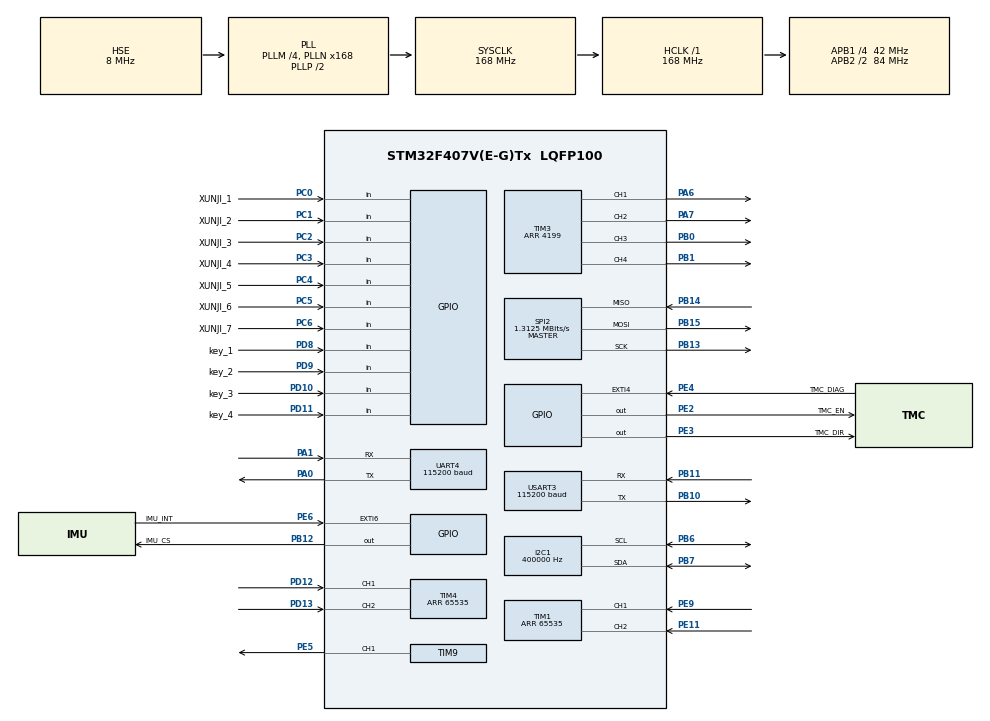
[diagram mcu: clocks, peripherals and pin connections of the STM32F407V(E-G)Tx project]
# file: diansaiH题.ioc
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I2C1.ClockSpeed=400000
I2C1.DutyCycle=I2C_DUTYCYCLE_2
I2C1.I2C_Mode=I2C_Fast
Mcu.Family=STM32F4
Mcu.Name=STM32F407V(E-G)Tx
Mcu.Package=LQFP100
NVIC.EXTI4_IRQn=true\:2\:0\:false\:false\:true\:true\:true\:true
NVIC.EXTI9_5_IRQn=true\:3\:0\:false\:false\:true\:true\:true\:true
NVIC.PriorityGroup=NVIC_PRIORITYGROUP_4
NVIC.TIM1_BRK_TIM9_IRQn=true\:5\:0\:false\:false\:true\:true\:true\:true
NVIC.TIM2_IRQn=true\:4\:0\:false\:false\:true\:true\:true\:true
NVIC.UART4_IRQn=true\:1\:0\:false\:false\:true\:true\:true\:true
PA0-WKUP.Mode=Asynchronous
PA0-WKUP.Signal=UART4_TX
PA1.Mode=Asynchronous
PA1.Signal=UART4_RX
PA13.Mode=Serial_Wire
PA13.Signal=SYS_JTMS-SWDIO
PA14.Mode=Serial_Wire
PA14.Signal=SYS_JTCK-SWCLK
PA6.Signal=S_TIM3_CH1
PA7.Signal=S_TIM3_CH2
PB0.Signal=S_TIM3_CH3
PB1.Signal=S_TIM3_CH4
PB10.Mode=Asynchronous
PB10.Signal=USART3_TX
PB11.Mode=Asynchronous
PB11.Signal=USART3_RX
PB12.GPIO_Label=IMU_CS
PB12.GPIO_Speed=GPIO_SPEED_FREQ_HIGH
PB12.PinState=GPIO_PIN_SET
PB12.Signal=GPIO_Output
PB13.Mode=Full_Duplex_Master
PB13.Signal=SPI2_SCK
PB14.Mode=Full_Duplex_Master
PB14.Signal=SPI2_MISO
PB15.Mode=Full_Duplex_Master
PB15.Signal=SPI2_MOSI
PB6.Mode=I2C
PB6.Signal=I2C1_SCL
PB7.Mode=I2C
PB7.Signal=I2C1_SDA
PC0.GPIO_Label=XUNJI_1
PC0.GPIO_PuPd=GPIO_PULLDOWN
PC0.Signal=GPIO_Input
PC1.GPIO_Label=XUNJI_2
PC1.GPIO_PuPd=GPIO_PULLDOWN
PC1.Signal=GPIO_Input
PC2.GPIO_Label=XUNJI_3
PC2.GPIO_PuPd=GPIO_PULLDOWN
PC2.Signal=GPIO_Input
PC3.GPIO_Label=XUNJI_4
PC3.GPIO_PuPd=GPIO_PULLDOWN
PC3.Signal=GPIO_Input
PC4.GPIO_Label=XUNJI_5
PC4.GPIO_PuPd=GPIO_PULLDOWN
PC4.Signal=GPIO_Input
PC5.GPIO_Label=XUNJI_6
PC5.GPIO_PuPd=GPIO_PULLDOWN
PC5.Signal=GPIO_Input
PC6.GPIO_Label=XUNJI_7
PC6.GPIO_PuPd=GPIO_PULLDOWN
PC6.Signal=GPIO_Input
PD10.GPIO_Label=key_3
PD10.GPIO_PuPd=GPIO_PULLUP
PD10.Signal=GPIO_Input
PD11.GPIO_Label=key_4
PD11.GPIO_PuPd=GPIO_PULLUP
PD11.Signal=GPIO_Input
PD12.Signal=S_TIM4_CH1
PD13.Signal=S_TIM4_CH2
PD8.GPIO_Label=key_1
PD8.GPIO_PuPd=GPIO_PULLUP
PD8.Signal=GPIO_Input
PD9.GPIO_Label=key_2
PD9.GPIO_PuPd=GPIO_PULLUP
PD9.Signal=GPIO_Input
PE11.Signal=S_TIM1_CH2
PE2.GPIO_Label=TMC_EN
PE2.GPIO_Speed=GPIO_SPEED_FREQ_HIGH
PE2.PinState=GPIO_PIN_SET
PE2.Signal=GPIO_Output
PE3.GPIO_Label=TMC_DIR
PE3.GPIO_Speed=GPIO_SPEED_FREQ_HIGH
PE3.Signal=GPIO_Output
PE4.GPIO_Label=TMC_DIAG
PE4.GPIO_ModeDefaultEXTI=GPIO_MODE_IT_RISING
PE4.GPIO_PuPd=GPIO_PULLDOWN
PE4.Signal=GPXTI4
PE5.Signal=S_TIM9_CH1
PE6.GPIO_Label=IMU_INT
PE6.GPIO_ModeDefaultEXTI=GPIO_MODE_IT_RISING
PE6.Signal=GPXTI6
PE9.Signal=S_TIM1_CH1
PH0-OSC_IN.Mode=HSE-External-Oscillator
PH0-OSC_IN.Signal=RCC_OSC_IN
PH1-OSC_OUT.Mode=HSE-External-Oscillator
PH1-OSC_OUT.Signal=RCC_OSC_OUT
ProjectManager.HeapSize=0x200
ProjectManager.StackSize=0x400
ProjectManager.TargetToolchain=MDK-ARM V5.32
RCC.48MHZClocksFreq_Value=48000000
RCC.AHBFreq_Value=168000000
RCC.APB1CLKDivider=RCC_HCLK_DIV4
RCC.APB1Freq_Value=42000000
RCC.APB1TimFreq_Value=84000000
RCC.APB2CLKDivider=RCC_HCLK_DIV2
RCC.APB2Freq_Value=84000000
RCC.APB2TimFreq_Value=168000000
RCC.CortexFreq_Value=168000000
RCC.HCLKFreq_Value=168000000
RCC.HSE_VALUE=8000000
RCC.HSI_VALUE=16000000
RCC.LSE_VALUE=32768
RCC.PLLM=4
RCC.PLLN=168
RCC.PLLQ=7
RCC.PLLSourceVirtual=RCC_PLLSOURCE_HSE
RCC.SYSCLKFreq_VALUE=168000000
RCC.SYSCLKSource=RCC_SYSCLKSOURCE_PLLCLK
RCC.VCOOutputFreq_Value=336000000
SH.S_TIM1_CH1.0=TIM1_CH1,Encoder_Interface
SH.S_TIM1_CH2.0=TIM1_CH2,Encoder_Interface
SH.S_TIM3_CH1.0=TIM3_CH1,PWM Generation1 CH1
SH.S_TIM3_CH2.0=TIM3_CH2,PWM Generation2 CH2
SH.S_TIM3_CH3.0=TIM3_CH3,PWM Generation3 CH3
SH.S_TIM3_CH4.0=TIM3_CH4,PWM Generation4 CH4
SH.S_TIM4_CH1.0=TIM4_CH1,Encoder_Interface
SH.S_TIM4_CH2.0=TIM4_CH2,Encoder_Interface
SH.S_TIM9_CH1.0=TIM9_CH1,PWM Generation1 CH1
SPI2.BaudRatePrescaler=SPI_BAUDRATEPRESCALER_32
SPI2.CLKPhase=SPI_PHASE_2EDGE
SPI2.CLKPolarity=SPI_POLARITY_HIGH
SPI2.CalculateBaudRate=1.3125 MBits/s
SPI2.Direction=SPI_DIRECTION_2LINES
SPI2.Mode=SPI_MODE_MASTER
SPI2.VirtualType=VM_MASTER
TIM1.EncoderMode=TIM_ENCODERMODE_TI12
TIM1.IC1Filter=4
TIM1.IC2Filter=4
TIM1.Period=65535
TIM2.Period=999
TIM2.Prescaler=83
TIM3.Channel-PWM\ Generation1\ CH1=TIM_CHANNEL_1
TIM3.Channel-PWM\ Generation2\ CH2=TIM_CHANNEL_2
TIM3.Channel-PWM\ Generation3\ CH3=TIM_CHANNEL_3
TIM3.Channel-PWM\ Generation4\ CH4=TIM_CHANNEL_4
TIM3.Period=4199
TIM4.EncoderMode=TIM_ENCODERMODE_TI12
TIM4.IC1Filter=4
TIM4.IC2Filter=4
TIM4.Period=65535
TIM9.Channel-PWM\ Generation1\ CH1=TIM_CHANNEL_1
TIM9.Period=999
TIM9.Prescaler=167
UART4.BaudRate=115200
UART4.VirtualMode=Asynchronous
USART3.BaudRate=115200
USART3.VirtualMode=VM_ASYNC
VP_TIM2_VS_ClockSourceINT.Mode=Internal
VP_TIM3_VS_ClockSourceINT.Mode=Internal
VP_TIM9_VS_ClockSourceINT.Mode=Internal
board=custom

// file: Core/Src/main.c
/* USER CODE BEGIN Header */
/**
  ******************************************************************************
  * @file           : main.c
  * @brief          : Main program body
  ******************************************************************************
  * @attention
  *
  * Copyright (c) 2026 STMicroelectronics.
  * All rights reserved.
  *
  * This software is licensed under terms that can be found in the LICENSE file
  * in the root directory of this software component.
  * If no LICENSE file comes with this software, it is provided AS-IS.
  *
  ******************************************************************************
  */
/* USER CODE END Header */
#include "main.h"

/* USER CODE BEGIN Includes */
#include "A4950.h"
#include "Encoder.h"
#include "eum.h"
#include "imu.h"
#include "k230.h"
#include "oled.h"
#include "PID.h"
#include "task.h"
#include "Timer.h"
#include "tmc2209.h"
/* USER CODE END Includes */

I2C_HandleTypeDef hi2c1;

SPI_HandleTypeDef hspi2;

TIM_HandleTypeDef htim1;
TIM_HandleTypeDef htim2;
TIM_HandleTypeDef htim3;
TIM_HandleTypeDef htim4;
TIM_HandleTypeDef htim9;

UART_HandleTypeDef huart4;
UART_HandleTypeDef huart3;

/* USER CODE BEGIN PV */
/* 外设自检结果：为 false 时主循环跳过对应传感器/驱动功能。 */
static bool imu_ok;                  /* ICM45686 初始化及静止校准结果。 */
static bool tmc_ok;                  /* TMC2209 串口初始化结果，供 OLED 显示。 */
static K230_Frame k230_frame;        /* 最近一帧 K230 小球识别数据。 */
static uint32_t k230_sequence;       /* 已消费帧序号，用于判断本轮是否有新帧。 */

/* TASK2 的两个轮速环和一个左右轮速度差环。 */
PID_Controller left_speed_pid;       /* 左轮转速闭环，输入/目标单位 RPM。 */
PID_Controller right_speed_pid;      /* 右轮转速闭环，输入/目标单位 RPM。 */
PID_Controller dir_speed_pid;        /* 左右轮速度差闭环，用于循迹转向。 */
/* USER CODE END PV */

void SystemClock_Config(void);
static void MX_GPIO_Init(void);
static void MX_I2C1_Init(void);
static void MX_SPI2_Init(void);
static void MX_TIM1_Init(void);
static void MX_TIM2_Init(void);
static void MX_TIM3_Init(void);
static void MX_TIM4_Init(void);
static void MX_TIM9_Init(void);
static void MX_UART4_Init(void);
static void MX_USART3_UART_Init(void);
/* USER CODE BEGIN PFP */
/* 初始化/清空 TASK2 使用的三个 PID 控制器。 */
void PID_all_init(void);
/* 按 20 ms 周期读取轮速、计算 PID，并输出到 A4950。 */
void PID_all_update(void);
/* 设置循迹基础速度与转向修正量，两个参数单位均为 RPM。 */
void xunji_set_speed(float base_speed, float correction);
/* 仅把三个 PID 目标清零；立即制动由 A4950_Stop() 完成。 */
void xunji_set_stop(void);

/* USER CODE END PFP */

/* USER CODE BEGIN 0 */
void PID_all_init(void)
{
  /* 左右轮速度环：输出限幅与 A4950 的软件命令范围一致。 */
  PID_Init(&left_speed_pid, 3.0f, 0.05f, 0.0f, -500.0f, 500.0f);
  PID_Init(&right_speed_pid, 3.0f, 0.05f, 0.0f, -500.0f, 500.0f);
  /* 方向环修正左右轮输出，限幅较小，避免转向量压过基础轮速。 */
  PID_Init(&dir_speed_pid, 0.2f, 0.05f, 0.0f, -200.0f, 200.0f);
}

void PID_all_update(void)
{
  /* Timer.c 已完成编码器采样、均值滤波以及 RPM 换算。 */
  float left_speed = (float)WJ_get_left_speed();
  float right_speed = (float)WJ_get_right_speed();

  /* 三个控制器必须与编码器刷新保持相同的 20 ms 调用周期。 */
  PID_Update(&left_speed_pid, left_speed);
  PID_Update(&right_speed_pid, right_speed);
  PID_Update(&dir_speed_pid, left_speed - right_speed);

  /* 方向环对两侧作相反修正，控制量最终交给 A4950 四路 PWM。 */
  WJ_Set_leftspeed(left_speed_pid.output + dir_speed_pid.output);
  WJ_Set_rightspeed(right_speed_pid.output - dir_speed_pid.output);
}

void xunji_set_speed(float base_speed, float correction)
{
  /* 正修正量使左轮目标增大、右轮目标减小，小车向右修正；负值反之。 */
  PID_SetSetpoint(&left_speed_pid, base_speed + correction);
  PID_SetSetpoint(&right_speed_pid, base_speed - correction);
  /* 目标轮速差 = (base+corr) - (base-corr) = 2*corr。 */
  PID_SetSetpoint(&dir_speed_pid, correction * 2.0f);
}

void xunji_set_stop(void)
{
  /* 清目标并不会立刻覆盖旧 PWM；停车路径随后调用 A4950_Stop() 主动制动。 */
  PID_SetSetpoint(&left_speed_pid, 0.0f);
  PID_SetSetpoint(&right_speed_pid, 0.0f);
  PID_SetSetpoint(&dir_speed_pid, 0.0f);
}

/* USER CODE END 0 */

int main(void)
{

  /* USER CODE BEGIN 1 */
  float front_back_accel_mg = 0.0f; /* 车体平面前后向加速度，单位 mg。 */
  float left_right_accel_mg = 0.0f; /* 车体平面左右向加速度，单位 mg。 */
  bool imu_new_sample;              /* 本轮主循环是否成功读取了新 IMU 样本。 */
  bool k230_new_frame;              /* 本轮主循环是否取到一帧新的视觉数据。 */

  /* USER CODE END 1 */

  /* MCU Configuration--------------------------------------------------------*/

  /* Reset of all peripherals, Initializes the Flash interface and the Systick. */
  HAL_Init();

  /* Configure the system clock */
  SystemClock_Config();

  /* Initialize all configured peripherals */
  MX_GPIO_Init();
  MX_I2C1_Init();
  MX_SPI2_Init();
  MX_TIM1_Init();
  MX_TIM2_Init();
  MX_TIM3_Init();
  MX_TIM4_Init();
  MX_TIM9_Init();
  MX_UART4_Init();
  MX_USART3_UART_Init();
  /* USER CODE BEGIN 2 */
    /* 直流电机与轮速闭环：启动 PWM、编码器并清空 PID。 */
    A4950_Init();
    Encoder_Init();
    PID_all_init();

    /* 通信与步进驱动：UART4 接 K230，USART3 接 TMC2209。 */
    K230_Init(&huart4);
	tmc_ok = TMC2209_Init(&huart3, &htim9, TMC2209_MRES_16);
	/* 上电初始化后先关闭步进驱动，只有需要摆杆控制的任务启动时再使能。 */
	TMC2209_Disable();

    /* 任务状态机上电复位；此时不会自动运行任何 TASK。 */
    WJ_task_1_init();
    WJ_task_2_init();
    WJ_task_3_init();
    WJ_task_4_init();

    /* 初始化 IMU 和 OLED；IMU 成功后静止采样，得到平面加速度零偏。 */
    imu_ok = ICM45686_Init(&hspi2);
    OLED_Init();
    if (imu_ok) {
      OLED_Clear();
      OLED_ShowString(0, 0, (u8 *)"IMU CAL...", 8, 1);
      OLED_Refresh();
      imu_ok = IMU_PlanarCalibrate();
    }
    OLED_Clear();
    if (imu_ok) {
      OLED_ShowString(0, 0, (u8 *)"IMU OK", 8, 1);
    } else {
      OLED_ShowString(0, 0, (u8 *)"IMU ERROR", 8, 1);
    }
    OLED_Refresh();

    /* 最后初始化菜单，并启动 TIM2 的 1 ms 软件调度节拍。 */
    Menu_Init();
    Timer_Init();
  /* USER CODE END 2 */

  /* Infinite loop */
  while (1)
  {
    /* USER CODE BEGIN 3 */
    /* IMU 的 PE6 数据就绪中断只置标志，实际 SPI 读取在主循环完成。 */
    imu_new_sample = false;
    if (imu_ok && ICM45686_IsDataReady()) {
      imu_new_sample =
          IMU_PlanarUpdate(&front_back_accel_mg,
                           &left_right_accel_mg);
    }
//------------------------------------------------------------------
    /* 先取得最新完整视觉帧，TASK6 双击 KEY2 时才能记录当前小球位置。 */
    k230_new_frame = K230_GetNewFrame(&k230_frame, &k230_sequence);
    Menu_Update(k230_frame.dx, k230_frame.found);
    /*
     * 任务调用方式照参考工程：Mode 决定当前执行哪个任务。
     * TASK1/TASK3/TASK4～6 的固定 20 ms 控制都在 Timer.c 中执行；
     * 主循环只缓存 K230 新帧，避免 OLED/I2C 刷新影响 PID 周期。
     */
    if (Mode == 1U) {
      WJ_task_1(k230_frame.dx, k230_frame.found, k230_new_frame);
    } else if (Mode == 2U) {
      /* TASK2 的距离、停车和计时已在 TIM2 的固定节拍中执行。 */
    } else if (Mode == 3U) {
      WJ_task_3(k230_frame.dx, k230_frame.found, k230_new_frame);
    } else if ((Mode >= 4U) && (Mode <= 6U)) {
      /* TASK4～6 共用视觉、IMU 和滚球闭环缓存，真正控制在 TIM2 固定节拍中执行。 */
      WJ_task_4(k230_frame.dx, k230_frame.found, k230_new_frame,
                front_back_accel_mg, imu_new_sample);
    }
//------------------------------------------------------------------
    /*
     * TIM2 每 100 ms 置位一次；OLED 刷新本身是阻塞式 I2C 传输。
     * TASK2 的速度 PID、距离、停车和计时均已在 TIM2 内固定周期执行，
     * 所以此处可安全显示实时计时，屏幕刷新不会改变停车点。
     */
    if (display_update_ready != 0U) {
      display_update_ready = 0U;
      eumshow(k230_frame.dx,
              (int32_t)front_back_accel_mg,
              (int32_t)left_right_accel_mg,
              tmc_ok);
    }
//------------------------------------------------------------------

//------------------------------------------------------------------
    /*
     * 速度 PID 已在 TIM2 中断的 20 ms 编码器采样分支中执行。
     * 主循环这里只清除调试标志，不再重复计算；OLED 或其他代码阻塞时
     * 也不会拉长 PID 周期。
     */
    if (speed_update_ready != 0U) {
      speed_update_ready = 0U;
    }
//------------------------------------------------------------------
//-------------------------------------------------------------------
  }
  /* USER CODE END 3 */
}

void SystemClock_Config(void)
{
  RCC_OscInitTypeDef RCC_OscInitStruct = {0};
  RCC_ClkInitTypeDef RCC_ClkInitStruct = {0};

  /** Configure the main internal regulator output voltage
  */
  __HAL_RCC_PWR_CLK_ENABLE();
  __HAL_PWR_VOLTAGESCALING_CONFIG(PWR_REGULATOR_VOLTAGE_SCALE1);

  /** Initializes the RCC Oscillators according to the specified parameters
  * in the RCC_OscInitTypeDef structure.
  */
  RCC_OscInitStruct.OscillatorType = RCC_OSCILLATORTYPE_HSE;
  RCC_OscInitStruct.HSEState = RCC_HSE_ON;
  RCC_OscInitStruct.PLL.PLLState = RCC_PLL_ON;
  RCC_OscInitStruct.PLL.PLLSource = RCC_PLLSOURCE_HSE;
  RCC_OscInitStruct.PLL.PLLM = 4;
  RCC_OscInitStruct.PLL.PLLN = 168;
  RCC_OscInitStruct.PLL.PLLP = RCC_PLLP_DIV2;
  RCC_OscInitStruct.PLL.PLLQ = 7;
  if (HAL_RCC_OscConfig(&RCC_OscInitStruct) != HAL_OK)
  {
    Error_Handler();
  }

  /** Initializes the CPU, AHB and APB buses clocks
  */
  RCC_ClkInitStruct.ClockType = RCC_CLOCKTYPE_HCLK|RCC_CLOCKTYPE_SYSCLK
                              |RCC_CLOCKTYPE_PCLK1|RCC_CLOCKTYPE_PCLK2;
  RCC_ClkInitStruct.SYSCLKSource = RCC_SYSCLKSOURCE_PLLCLK;
  RCC_ClkInitStruct.AHBCLKDivider = RCC_SYSCLK_DIV1;
  RCC_ClkInitStruct.APB1CLKDivider = RCC_HCLK_DIV4;
  RCC_ClkInitStruct.APB2CLKDivider = RCC_HCLK_DIV2;

  if (HAL_RCC_ClockConfig(&RCC_ClkInitStruct, FLASH_LATENCY_5) != HAL_OK)
  {
    Error_Handler();
  }
}

static void MX_I2C1_Init(void)
{

  hi2c1.Instance = I2C1;
  hi2c1.Init.ClockSpeed = 400000;
  hi2c1.Init.DutyCycle = I2C_DUTYCYCLE_2;
  hi2c1.Init.OwnAddress1 = 0;
  hi2c1.Init.AddressingMode = I2C_ADDRESSINGMODE_7BIT;
  hi2c1.Init.DualAddressMode = I2C_DUALADDRESS_DISABLE;
  hi2c1.Init.OwnAddress2 = 0;
  hi2c1.Init.GeneralCallMode = I2C_GENERALCALL_DISABLE;
  hi2c1.Init.NoStretchMode = I2C_NOSTRETCH_DISABLE;
  if (HAL_I2C_Init(&hi2c1) != HAL_OK)
  {
    Error_Handler();
  }

}

static void MX_SPI2_Init(void)
{

  /* SPI2 parameter configuration*/
  hspi2.Instance = SPI2;
  hspi2.Init.Mode = SPI_MODE_MASTER;
  hspi2.Init.Direction = SPI_DIRECTION_2LINES;
  hspi2.Init.DataSize = SPI_DATASIZE_8BIT;
  hspi2.Init.CLKPolarity = SPI_POLARITY_HIGH;
  hspi2.Init.CLKPhase = SPI_PHASE_2EDGE;
  hspi2.Init.NSS = SPI_NSS_SOFT;
  hspi2.Init.BaudRatePrescaler = SPI_BAUDRATEPRESCALER_32;
  hspi2.Init.FirstBit = SPI_FIRSTBIT_MSB;
  hspi2.Init.TIMode = SPI_TIMODE_DISABLE;
  hspi2.Init.CRCCalculation = SPI_CRCCALCULATION_DISABLE;
  hspi2.Init.CRCPolynomial = 10;
  if (HAL_SPI_Init(&hspi2) != HAL_OK)
  {
    Error_Handler();
  }

}

static void MX_TIM1_Init(void)
{

  TIM_Encoder_InitTypeDef sConfig = {0};
  TIM_MasterConfigTypeDef sMasterConfig = {0};

  htim1.Instance = TIM1;
  htim1.Init.Prescaler = 0;
  htim1.Init.CounterMode = TIM_COUNTERMODE_UP;
  htim1.Init.Period = 65535;
  htim1.Init.ClockDivision = TIM_CLOCKDIVISION_DIV1;
  htim1.Init.RepetitionCounter = 0;
  htim1.Init.AutoReloadPreload = TIM_AUTORELOAD_PRELOAD_DISABLE;
  sConfig.EncoderMode = TIM_ENCODERMODE_TI12;
  sConfig.IC1Polarity = TIM_ICPOLARITY_RISING;
  sConfig.IC1Selection = TIM_ICSELECTION_DIRECTTI;
  sConfig.IC1Prescaler = TIM_ICPSC_DIV1;
  sConfig.IC1Filter = 4;
  sConfig.IC2Polarity = TIM_ICPOLARITY_RISING;
  sConfig.IC2Selection = TIM_ICSELECTION_DIRECTTI;
  sConfig.IC2Prescaler = TIM_ICPSC_DIV1;
  sConfig.IC2Filter = 4;
  if (HAL_TIM_Encoder_Init(&htim1, &sConfig) != HAL_OK)
  {
    Error_Handler();
  }
  sMasterConfig.MasterOutputTrigger = TIM_TRGO_RESET;
  sMasterConfig.MasterSlaveMode = TIM_MASTERSLAVEMODE_DISABLE;
  if (HAL_TIMEx_MasterConfigSynchronization(&htim1, &sMasterConfig) != HAL_OK)
  {
    Error_Handler();
  }

}

static void MX_TIM2_Init(void)
{

  TIM_ClockConfigTypeDef sClockSourceConfig = {0};
  TIM_MasterConfigTypeDef sMasterConfig = {0};

  htim2.Instance = TIM2;
  htim2.Init.Prescaler = 83;
  htim2.Init.CounterMode = TIM_COUNTERMODE_UP;
  htim2.Init.Period = 999;
  htim2.Init.ClockDivision = TIM_CLOCKDIVISION_DIV1;
  htim2.Init.AutoReloadPreload = TIM_AUTORELOAD_PRELOAD_DISABLE;
  if (HAL_TIM_Base_Init(&htim2) != HAL_OK)
  {
    Error_Handler();
  }
  sClockSourceConfig.ClockSource = TIM_CLOCKSOURCE_INTERNAL;
  if (HAL_TIM_ConfigClockSource(&htim2, &sClockSourceConfig) != HAL_OK)
  {
    Error_Handler();
  }
  sMasterConfig.MasterOutputTrigger = TIM_TRGO_RESET;
  sMasterConfig.MasterSlaveMode = TIM_MASTERSLAVEMODE_DISABLE;
  if (HAL_TIMEx_MasterConfigSynchronization(&htim2, &sMasterConfig) != HAL_OK)
  {
    Error_Handler();
  }

}

static void MX_TIM3_Init(void)
{

  TIM_ClockConfigTypeDef sClockSourceConfig = {0};
  TIM_MasterConfigTypeDef sMasterConfig = {0};
  TIM_OC_InitTypeDef sConfigOC = {0};

  htim3.Instance = TIM3;
  htim3.Init.Prescaler = 0;
  htim3.Init.CounterMode = TIM_COUNTERMODE_UP;
  htim3.Init.Period = 4199;
  htim3.Init.ClockDivision = TIM_CLOCKDIVISION_DIV1;
  htim3.Init.AutoReloadPreload = TIM_AUTORELOAD_PRELOAD_DISABLE;
  if (HAL_TIM_Base_Init(&htim3) != HAL_OK)
  {
    Error_Handler();
  }
  sClockSourceConfig.ClockSource = TIM_CLOCKSOURCE_INTERNAL;
  if (HAL_TIM_ConfigClockSource(&htim3, &sClockSourceConfig) != HAL_OK)
  {
    Error_Handler();
  }
  if (HAL_TIM_PWM_Init(&htim3) != HAL_OK)
  {
    Error_Handler();
  }
  sMasterConfig.MasterOutputTrigger = TIM_TRGO_RESET;
  sMasterConfig.MasterSlaveMode = TIM_MASTERSLAVEMODE_DISABLE;
  if (HAL_TIMEx_MasterConfigSynchronization(&htim3, &sMasterConfig) != HAL_OK)
  {
    Error_Handler();
  }
  sConfigOC.OCMode = TIM_OCMODE_PWM1;
  sConfigOC.Pulse = 0;
  sConfigOC.OCPolarity = TIM_OCPOLARITY_HIGH;
  sConfigOC.OCFastMode = TIM_OCFAST_DISABLE;
  if (HAL_TIM_PWM_ConfigChannel(&htim3, &sConfigOC, TIM_CHANNEL_1) != HAL_OK)
  {
    Error_Handler();
  }
  if (HAL_TIM_PWM_ConfigChannel(&htim3, &sConfigOC, TIM_CHANNEL_2) != HAL_OK)
  {
    Error_Handler();
  }
  if (HAL_TIM_PWM_ConfigChannel(&htim3, &sConfigOC, TIM_CHANNEL_3) != HAL_OK)
  {
    Error_Handler();
  }
  if (HAL_TIM_PWM_ConfigChannel(&htim3, &sConfigOC, TIM_CHANNEL_4) != HAL_OK)
  {
    Error_Handler();
  }
  HAL_TIM_MspPostInit(&htim3);

}

static void MX_TIM4_Init(void)
{

  TIM_Encoder_InitTypeDef sConfig = {0};
  TIM_MasterConfigTypeDef sMasterConfig = {0};

  htim4.Instance = TIM4;
  htim4.Init.Prescaler = 0;
  htim4.Init.CounterMode = TIM_COUNTERMODE_UP;
  htim4.Init.Period = 65535;
  htim4.Init.ClockDivision = TIM_CLOCKDIVISION_DIV1;
  htim4.Init.AutoReloadPreload = TIM_AUTORELOAD_PRELOAD_DISABLE;
  sConfig.EncoderMode = TIM_ENCODERMODE_TI12;
  sConfig.IC1Polarity = TIM_ICPOLARITY_RISING;
  sConfig.IC1Selection = TIM_ICSELECTION_DIRECTTI;
  sConfig.IC1Prescaler = TIM_ICPSC_DIV1;
  sConfig.IC1Filter = 4;
  sConfig.IC2Polarity = TIM_ICPOLARITY_RISING;
  sConfig.IC2Selection = TIM_ICSELECTION_DIRECTTI;
  sConfig.IC2Prescaler = TIM_ICPSC_DIV1;
  sConfig.IC2Filter = 4;
  if (HAL_TIM_Encoder_Init(&htim4, &sConfig) != HAL_OK)
  {
    Error_Handler();
  }
  sMasterConfig.MasterOutputTrigger = TIM_TRGO_RESET;
  sMasterConfig.MasterSlaveMode = TIM_MASTERSLAVEMODE_DISABLE;
  if (HAL_TIMEx_MasterConfigSynchronization(&htim4, &sMasterConfig) != HAL_OK)
  {
    Error_Handler();
  }

}

static void MX_TIM9_Init(void)
{

  TIM_ClockConfigTypeDef sClockSourceConfig = {0};
  TIM_OC_InitTypeDef sConfigOC = {0};

  htim9.Instance = TIM9;
  htim9.Init.Prescaler = 167;
  htim9.Init.CounterMode = TIM_COUNTERMODE_UP;
  htim9.Init.Period = 999;
  htim9.Init.ClockDivision = TIM_CLOCKDIVISION_DIV1;
  htim9.Init.AutoReloadPreload = TIM_AUTORELOAD_PRELOAD_DISABLE;
  if (HAL_TIM_Base_Init(&htim9) != HAL_OK)
  {
    Error_Handler();
  }
  sClockSourceConfig.ClockSource = TIM_CLOCKSOURCE_INTERNAL;
  if (HAL_TIM_ConfigClockSource(&htim9, &sClockSourceConfig) != HAL_OK)
  {
    Error_Handler();
  }
  if (HAL_TIM_PWM_Init(&htim9) != HAL_OK)
  {
    Error_Handler();
  }
  sConfigOC.OCMode = TIM_OCMODE_PWM1;
  sConfigOC.Pulse = 0;
  sConfigOC.OCPolarity = TIM_OCPOLARITY_HIGH;
  sConfigOC.OCFastMode = TIM_OCFAST_DISABLE;
  if (HAL_TIM_PWM_ConfigChannel(&htim9, &sConfigOC, TIM_CHANNEL_1) != HAL_OK)
  {
    Error_Handler();
  }
  HAL_TIM_MspPostInit(&htim9);

}

static void MX_UART4_Init(void)
{

  huart4.Instance = UART4;
  huart4.Init.BaudRate = 115200;
  huart4.Init.WordLength = UART_WORDLENGTH_8B;
  huart4.Init.StopBits = UART_STOPBITS_1;
  huart4.Init.Parity = UART_PARITY_NONE;
  huart4.Init.Mode = UART_MODE_TX_RX;
  huart4.Init.HwFlowCtl = UART_HWCONTROL_NONE;
  huart4.Init.OverSampling = UART_OVERSAMPLING_16;
  if (HAL_UART_Init(&huart4) != HAL_OK)
  {
    Error_Handler();
  }

}

static void MX_USART3_UART_Init(void)
{

  huart3.Instance = USART3;
  huart3.Init.BaudRate = 115200;
  huart3.Init.WordLength = UART_WORDLENGTH_8B;
  huart3.Init.StopBits = UART_STOPBITS_1;
  huart3.Init.Parity = UART_PARITY_NONE;
  huart3.Init.Mode = UART_MODE_TX_RX;
  huart3.Init.HwFlowCtl = UART_HWCONTROL_NONE;
  huart3.Init.OverSampling = UART_OVERSAMPLING_16;
  if (HAL_UART_Init(&huart3) != HAL_OK)
  {
    Error_Handler();
  }

}

static void MX_GPIO_Init(void)
{
  GPIO_InitTypeDef GPIO_InitStruct = {0};

  /* GPIO Ports Clock Enable */
  __HAL_RCC_GPIOE_CLK_ENABLE();
  __HAL_RCC_GPIOH_CLK_ENABLE();
  __HAL_RCC_GPIOC_CLK_ENABLE();
  __HAL_RCC_GPIOA_CLK_ENABLE();
  __HAL_RCC_GPIOB_CLK_ENABLE();
  __HAL_RCC_GPIOD_CLK_ENABLE();

  /*Configure GPIO pin Output Level */
  HAL_GPIO_WritePin(TMC_EN_GPIO_Port, TMC_EN_Pin, GPIO_PIN_SET);

  /*Configure GPIO pin Output Level */
  HAL_GPIO_WritePin(TMC_DIR_GPIO_Port, TMC_DIR_Pin, GPIO_PIN_RESET);

  /*Configure GPIO pin Output Level */
  HAL_GPIO_WritePin(IMU_CS_GPIO_Port, IMU_CS_Pin, GPIO_PIN_SET);

  /*Configure GPIO pins : TMC_EN_Pin TMC_DIR_Pin */
  GPIO_InitStruct.Pin = TMC_EN_Pin|TMC_DIR_Pin;
  GPIO_InitStruct.Mode = GPIO_MODE_OUTPUT_PP;
  GPIO_InitStruct.Pull = GPIO_NOPULL;
  GPIO_InitStruct.Speed = GPIO_SPEED_FREQ_HIGH;
  HAL_GPIO_Init(GPIOE, &GPIO_InitStruct);

  /*Configure GPIO pin : TMC_DIAG_Pin */
  GPIO_InitStruct.Pin = TMC_DIAG_Pin;
  GPIO_InitStruct.Mode = GPIO_MODE_IT_RISING;
  GPIO_InitStruct.Pull = GPIO_PULLDOWN;
  HAL_GPIO_Init(TMC_DIAG_GPIO_Port, &GPIO_InitStruct);

  /*Configure GPIO pin : IMU_INT_Pin */
  GPIO_InitStruct.Pin = IMU_INT_Pin;
  GPIO_InitStruct.Mode = GPIO_MODE_IT_RISING;
  GPIO_InitStruct.Pull = GPIO_NOPULL;
  HAL_GPIO_Init(IMU_INT_GPIO_Port, &GPIO_InitStruct);

  /*Configure GPIO pins : XUNJI_1_Pin XUNJI_2_Pin XUNJI_3_Pin XUNJI_4_Pin
                           XUNJI_5_Pin XUNJI_6_Pin XUNJI_7_Pin */
  GPIO_InitStruct.Pin = XUNJI_1_Pin|XUNJI_2_Pin|XUNJI_3_Pin|XUNJI_4_Pin
                          |XUNJI_5_Pin|XUNJI_6_Pin|XUNJI_7_Pin;
  GPIO_InitStruct.Mode = GPIO_MODE_INPUT;
  GPIO_InitStruct.Pull = GPIO_PULLDOWN;
  HAL_GPIO_Init(GPIOC, &GPIO_InitStruct);

  /*Configure GPIO pin : IMU_CS_Pin */
  GPIO_InitStruct.Pin = IMU_CS_Pin;
  GPIO_InitStruct.Mode = GPIO_MODE_OUTPUT_PP;
  GPIO_InitStruct.Pull = GPIO_NOPULL;
  GPIO_InitStruct.Speed = GPIO_SPEED_FREQ_HIGH;
  HAL_GPIO_Init(IMU_CS_GPIO_Port, &GPIO_InitStruct);

  /*Configure GPIO pins : key_1_Pin key_2_Pin key_3_Pin key_4_Pin */
  GPIO_InitStruct.Pin = key_1_Pin|key_2_Pin|key_3_Pin|key_4_Pin;
  GPIO_InitStruct.Mode = GPIO_MODE_INPUT;
  GPIO_InitStruct.Pull = GPIO_PULLUP;
  HAL_GPIO_Init(GPIOD, &GPIO_InitStruct);

  /* EXTI interrupt init*/
  HAL_NVIC_SetPriority(EXTI4_IRQn, 2, 0);
  HAL_NVIC_EnableIRQ(EXTI4_IRQn);

  HAL_NVIC_SetPriority(EXTI9_5_IRQn, 3, 0);
  HAL_NVIC_EnableIRQ(EXTI9_5_IRQn);

}

/* USER CODE BEGIN 4 */
/* GPIO 外部中断统一入口：PE4=TMC DIAG，PE6=IMU 数据就绪。 */
void HAL_GPIO_EXTI_Callback(uint16_t GPIO_Pin)
{
  if (GPIO_Pin == TMC_DIAG_Pin) {
    TMC2209_DiagIRQ();
  } else if (GPIO_Pin == IMU_INT_Pin) {
    ICM45686_DataReadyIRQ();
  }
}

void HAL_UART_RxCpltCallback(UART_HandleTypeDef *huart)
{
  /* 将 UART4 单字节接收完成事件交给 K230 帧解析器，并重新挂接接收。 */
  K230_UART_RxCpltCallback(huart);
}

void HAL_UART_ErrorCallback(UART_HandleTypeDef *huart)
{
  /* UART4 出错时清错误状态并恢复 K230 中断接收。 */
  K230_UART_ErrorCallback(huart);
}

/* USER CODE END 4 */

void Error_Handler(void)
{
  __disable_irq();
  while (1)
  {
  }
}
